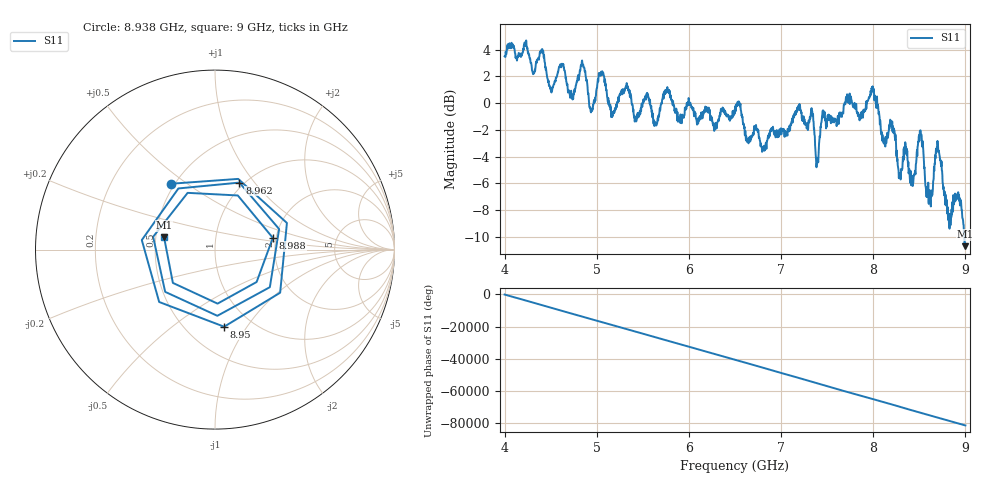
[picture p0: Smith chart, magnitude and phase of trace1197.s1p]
! Created with skrf 1.8.0 (http://scikit-rf.org).
# Hz S RI R 50.0
!freq ReS11 ImS11
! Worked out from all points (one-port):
!   1601 points, 4 GHz to 9 GHz, reference 50 ohm
!   lowest |S11| = -10.7 dB at 9 GHz (marker M1), VSWR 1.82, Z = 27.7 + j4.15 ohm
!   |S11| at or under -10 dB: 8.989039 GHz to end of sweep
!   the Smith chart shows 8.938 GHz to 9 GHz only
!   S11 on the Smith chart (normalised r, x): 8.938 GHz: 0.48, +0.43; 8.95 GHz: 0.75, -0.79; 8.962 GHz: 0.95, +0.84; 8.988 GHz: 1.92, +0.28; 9 GHz: 0.55, +0.08
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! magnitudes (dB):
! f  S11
! 4 GHz  3.5
! 4.625 GHz  2.8
! 4.731 GHz  0.4
! 4.85 GHz  2.8
! 4.941 GHz  -0.5
! 5.047 GHz  2.3
! 5.25 GHz  0.6
! 5.875 GHz  -0.7
! 6.5 GHz  -0.4
! 6.803 GHz  -3.4
! 7.125 GHz  -1.5
! 7.334 GHz  -0.6
! 7.394 GHz  -4.2
! 7.456 GHz  -1.1
! 7.75 GHz  0.5
! 7.997 GHz  1.2
! 8.112 GHz  -3.0
! 8.375 GHz  -4.3
! 8.438 GHz  -5.6
! 8.512 GHz  -2.0
! 8.6 GHz  -7.4
! 8.697 GHz  -2.8
! 8.822 GHz  -9.0
! 8.938 GHz  -7.1
! 8.95 GHz  -7.3
! 8.962 GHz  -8.0
! 8.988 GHz  -9.7
! 9 GHz  -10.7
